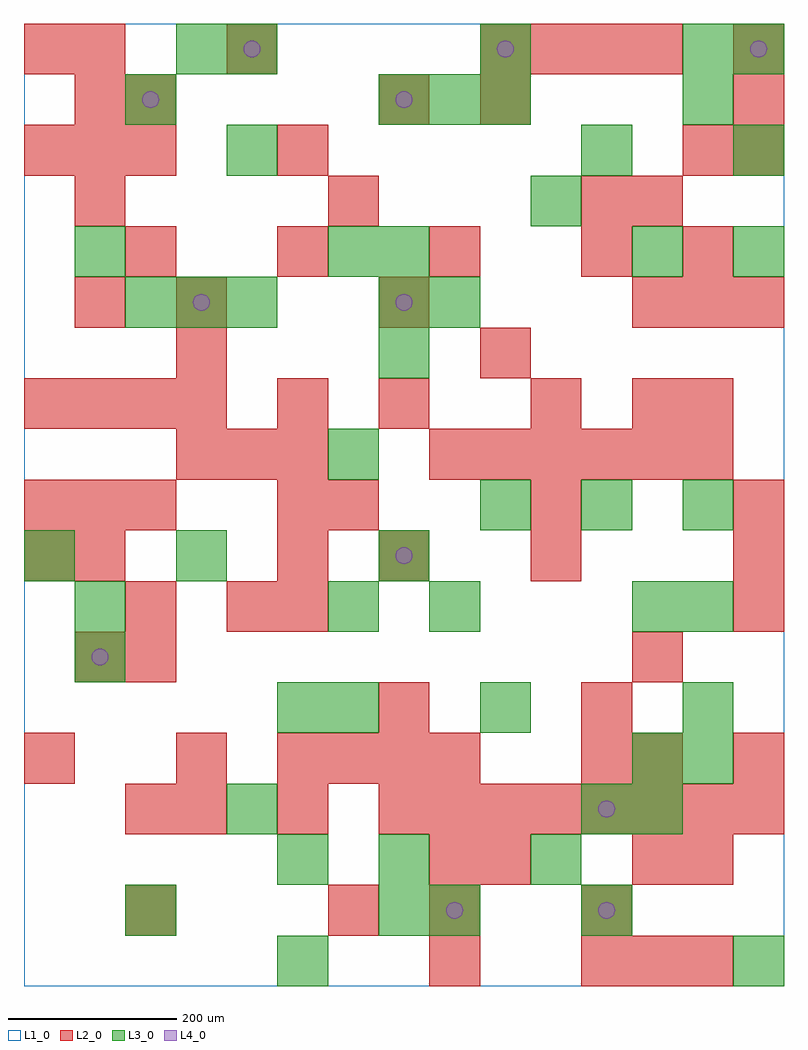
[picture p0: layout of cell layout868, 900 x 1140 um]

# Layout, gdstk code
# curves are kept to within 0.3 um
import gdstk
lib = gdstk.Library(unit=1e-6, precision=1e-09)
def R(c, l, rs):  # rectangles x0, y0, x1, y1
    for r in rs: c.add(gdstk.rectangle(r[:2], r[2:], *l))
def A(c, l, x, y, w, h, nx, ny, dx, dy):  # array of equal rectangles
    R(c, l, [(x+i*dx, y+j*dy, x+i*dx+w, y+j*dy+h) for i in range(nx) for j in range(ny)])
def P(c, l, *ps):  # polygons
    for p in ps: c.add(gdstk.Polygon(p, *l))
L1_0 = (1, 0)
L2_0 = (2, 0)
L3_0 = (3, 0)
L4_0 = (4, 0)

layout868 = lib.new_cell('layout868')
R(layout868, L1_0, [(0,0,900,1140)])
A(layout868, L2_0, 480, 0, 60, 60, 1, 3, 0, 60)
A(layout868, L2_0, 660, 0, 60, 60, 3, 1, 60, 0)
A(layout868, L2_0, 720, 120, 60, 60, 1, 3, 0, 120)
A(layout868, L2_0, 180, 180, 60, 60, 3, 1, 120, 0)
A(layout868, L2_0, 480, 180, 60, 60, 7, 1, 60, 0)
A(layout868, L2_0, 300, 240, 60, 60, 4, 1, 60, 0)
A(layout868, L2_0, 420, 300, 60, 60, 1, 3, 0, 180)
A(layout868, L2_0, 300, 420, 60, 60, 1, 3, 0, 60)
A(layout868, L2_0, 0, 540, 60, 60, 3, 2, 60, 420)
A(layout868, L2_0, 360, 540, 60, 60, 3, 1, 240, 0)
A(layout868, L2_0, 180, 600, 60, 60, 3, 1, 60, 0)
A(layout868, L2_0, 480, 600, 60, 60, 6, 1, 60, 0)
A(layout868, L2_0, 0, 660, 60, 60, 4, 1, 60, 0)
A(layout868, L2_0, 720, 780, 60, 60, 3, 1, 60, 0)
A(layout868, L2_0, 120, 840, 60, 60, 4, 1, 180, 0)
A(layout868, L2_0, 60, 900, 60, 60, 3, 1, 300, 0)
A(layout868, L2_0, 840, 960, 60, 60, 1, 3, 0, 60)
A(layout868, L2_0, 540, 1080, 60, 60, 4, 1, 60, 0)
R(layout868, L2_0, [(120,60,180,120), (360,60,420,120), (660,60,720,120), (540,120,600,180), (780,120,840,180), (120,180,180,240), (0,240,60,300), (180,240,240,300), (660,240,720,300), (840,240,900,300), (660,300,720,360), (60,360,120,420), (120,360,180,420), (120,420,180,480), (240,420,300,480), (840,420,900,480), (0,480,60,540), (60,480,120,540), (600,480,660,540), (840,480,900,540), (300,660,360,720), (600,660,660,720), (720,660,780,720), (780,660,840,720), (180,720,240,780), (540,720,600,780), (60,780,120,840), (180,780,240,840), (420,780,480,840), (780,840,840,900), (720,900,780,960), (300,960,360,1020), (780,960,840,1020), (60,1020,120,1080), (120,1020,180,1080), (420,1020,480,1080), (540,1020,600,1080), (0,1080,60,1140), (60,1080,120,1140), (240,1080,300,1140)])
A(layout868, L3_0, 480, 60, 60, 60, 1, 3, 0, 360)
A(layout868, L3_0, 540, 540, 60, 60, 3, 1, 120, 0)
A(layout868, L3_0, 420, 720, 60, 60, 1, 3, 0, 60)
A(layout868, L3_0, 120, 780, 60, 60, 3, 1, 60, 0)
A(layout868, L3_0, 840, 840, 60, 60, 1, 3, 0, 120)
A(layout868, L3_0, 420, 1020, 60, 60, 3, 1, 60, 0)
R(layout868, L3_0, [(300,0,360,60), (840,0,900,60), (120,60,180,120), (420,60,480,120), (660,60,720,120), (300,120,360,180), (420,120,480,180), (600,120,660,180), (240,180,300,240), (660,180,720,240), (720,180,780,240), (720,240,780,300), (780,240,840,300), (300,300,360,360), (360,300,420,360), (540,300,600,360), (780,300,840,360), (60,360,120,420), (60,420,120,480), (360,420,420,480), (720,420,780,480), (780,420,840,480), (0,480,60,540), (180,480,240,540), (420,480,480,540), (360,600,420,660), (60,840,120,900), (360,840,420,900), (720,840,780,900), (600,900,660,960), (240,960,300,1020), (660,960,720,1020), (120,1020,180,1080), (780,1020,840,1080), (180,1080,240,1140), (240,1080,300,1140), (540,1080,600,1140), (780,1080,840,1140)])
P(layout868, L4_0, [(100,390),(99.239,393.827),(97.071,397.071),(93.827,399.239),(90,400),(86.173,399.239),(82.929,397.071),(80.761,393.827),(80,390),(80.761,386.173),(82.929,382.929),(86.173,380.761),(90,380),(93.827,380.761),(97.071,382.929),(99.239,386.173)],
  [(160,1050),(159.239,1053.827),(157.071,1057.071),(153.827,1059.239),(150,1060),(146.173,1059.239),(142.929,1057.071),(140.761,1053.827),(140,1050),(140.761,1046.173),(142.929,1042.929),(146.173,1040.761),(150,1040),(153.827,1040.761),(157.071,1042.929),(159.239,1046.173)],
  [(220,810),(219.239,813.827),(217.071,817.071),(213.827,819.239),(210,820),(206.173,819.239),(202.929,817.071),(200.761,813.827),(200,810),(200.761,806.173),(202.929,802.929),(206.173,800.761),(210,800),(213.827,800.761),(217.071,802.929),(219.239,806.173)],
  [(280,1110),(279.239,1113.827),(277.071,1117.071),(273.827,1119.239),(270,1120),(266.173,1119.239),(262.929,1117.071),(260.761,1113.827),(260,1110),(260.761,1106.173),(262.929,1102.929),(266.173,1100.761),(270,1100),(273.827,1100.761),(277.071,1102.929),(279.239,1106.173)],
  [(460,510),(459.239,513.827),(457.071,517.071),(453.827,519.239),(450,520),(446.173,519.239),(442.929,517.071),(440.761,513.827),(440,510),(440.761,506.173),(442.929,502.929),(446.173,500.761),(450,500),(453.827,500.761),(457.071,502.929),(459.239,506.173)],
  [(460,810),(459.239,813.827),(457.071,817.071),(453.827,819.239),(450,820),(446.173,819.239),(442.929,817.071),(440.761,813.827),(440,810),(440.761,806.173),(442.929,802.929),(446.173,800.761),(450,800),(453.827,800.761),(457.071,802.929),(459.239,806.173)],
  [(460,1050),(459.239,1053.827),(457.071,1057.071),(453.827,1059.239),(450,1060),(446.173,1059.239),(442.929,1057.071),(440.761,1053.827),(440,1050),(440.761,1046.173),(442.929,1042.929),(446.173,1040.761),(450,1040),(453.827,1040.761),(457.071,1042.929),(459.239,1046.173)],
  [(520,90),(519.239,93.827),(517.071,97.071),(513.827,99.239),(510,100),(506.173,99.239),(502.929,97.071),(500.761,93.827),(500,90),(500.761,86.173),(502.929,82.929),(506.173,80.761),(510,80),(513.827,80.761),(517.071,82.929),(519.239,86.173)],
  [(580,1110),(579.239,1113.827),(577.071,1117.071),(573.827,1119.239),(570,1120),(566.173,1119.239),(562.929,1117.071),(560.761,1113.827),(560,1110),(560.761,1106.173),(562.929,1102.929),(566.173,1100.761),(570,1100),(573.827,1100.761),(577.071,1102.929),(579.239,1106.173)],
  [(700,90),(699.239,93.827),(697.071,97.071),(693.827,99.239),(690,100),(686.173,99.239),(682.929,97.071),(680.761,93.827),(680,90),(680.761,86.173),(682.929,82.929),(686.173,80.761),(690,80),(693.827,80.761),(697.071,82.929),(699.239,86.173)],
  [(700,210),(699.239,213.827),(697.071,217.071),(693.827,219.239),(690,220),(686.173,219.239),(682.929,217.071),(680.761,213.827),(680,210),(680.761,206.173),(682.929,202.929),(686.173,200.761),(690,200),(693.827,200.761),(697.071,202.929),(699.239,206.173)],
  [(880,1110),(879.239,1113.827),(877.071,1117.071),(873.827,1119.239),(870,1120),(866.173,1119.239),(862.929,1117.071),(860.761,1113.827),(860,1110),(860.761,1106.173),(862.929,1102.929),(866.173,1100.761),(870,1100),(873.827,1100.761),(877.071,1102.929),(879.239,1106.173)])

lib.write_gds('layout868.gds')
